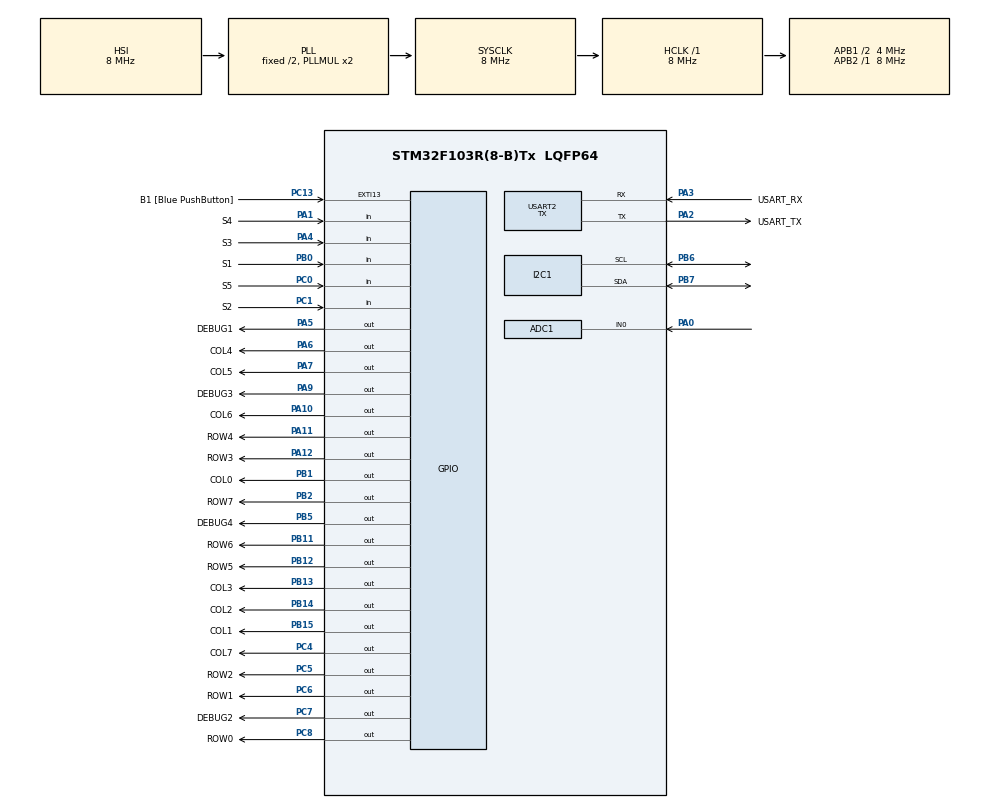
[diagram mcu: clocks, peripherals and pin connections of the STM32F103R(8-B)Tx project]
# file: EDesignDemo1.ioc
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ADC1.Channel-2\#ChannelRegularConversion=ADC_CHANNEL_0
ADC1.NbrOfConversionFlag=1
ADC1.Rank-2\#ChannelRegularConversion=1
ADC1.SamplingTime-2\#ChannelRegularConversion=ADC_SAMPLETIME_1CYCLE_5
ADC1.master=1
Mcu.Family=STM32F1
Mcu.Name=STM32F103R(8-B)Tx
Mcu.Package=LQFP64
NVIC.EXTI15_10_IRQn=true\:0\:0\:false\:false\:true\:true\:true
NVIC.PriorityGroup=NVIC_PRIORITYGROUP_4
PA0-WKUP.Signal=ADCx_IN0
PA1.GPIO_Label=S4
PA1.Signal=GPIO_Input
PA10.GPIO_Label=COL6
PA10.Signal=GPIO_Output
PA11.GPIO_Label=ROW4
PA11.Signal=GPIO_Output
PA12.GPIO_Label=ROW3
PA12.Signal=GPIO_Output
PA13.GPIO_Label=TMS
PA13.Mode=Serial_Wire
PA13.Signal=SYS_JTMS-SWDIO
PA14.GPIO_Label=TCK
PA14.Mode=Serial_Wire
PA14.Signal=SYS_JTCK-SWCLK
PA2.GPIO_Label=USART_TX
PA2.GPIO_Mode=GPIO_MODE_AF_PP
PA2.GPIO_PuPd=GPIO_NOPULL
PA2.GPIO_Speed=GPIO_SPEED_FREQ_LOW
PA2.Mode=Asynchronous
PA2.Signal=USART2_TX
PA3.GPIO_Label=USART_RX
PA3.GPIO_Mode=GPIO_MODE_AF_PP
PA3.GPIO_PuPd=GPIO_NOPULL
PA3.GPIO_Speed=GPIO_SPEED_FREQ_LOW
PA3.Mode=Asynchronous
PA3.Signal=USART2_RX
PA4.GPIO_Label=S3
PA4.Signal=GPIO_Input
PA5.GPIO_Label=DEBUG1
PA5.GPIO_ModeDefaultOutputPP=GPIO_MODE_OUTPUT_PP
PA5.GPIO_PuPd=GPIO_NOPULL
PA5.GPIO_Speed=GPIO_SPEED_FREQ_LOW
PA5.Signal=GPIO_Output
PA6.GPIO_Label=COL4
PA6.Signal=GPIO_Output
PA7.GPIO_Label=COL5
PA7.Signal=GPIO_Output
PA9.GPIO_Label=DEBUG3
PA9.Signal=GPIO_Output
PB0.GPIO_Label=S1
PB0.Signal=GPIO_Input
PB1.GPIO_Label=COL0
PB1.Signal=GPIO_Output
PB11.GPIO_Label=ROW6
PB11.Signal=GPIO_Output
PB12.GPIO_Label=ROW5
PB12.Signal=GPIO_Output
PB13.GPIO_Label=COL3
PB13.Signal=GPIO_Output
PB14.GPIO_Label=COL2
PB14.Signal=GPIO_Output
PB15.GPIO_Label=COL1
PB15.Signal=GPIO_Output
PB2.GPIO_Label=ROW7
PB2.Signal=GPIO_Output
PB3.GPIO_Label=SWO
PB3.Signal=SYS_JTDO-TRACESWO
PB5.GPIO_Label=DEBUG4
PB5.Signal=GPIO_Output
PB6.Mode=I2C
PB6.Signal=I2C1_SCL
PB7.Mode=I2C
PB7.Signal=I2C1_SDA
PC0.GPIO_Label=S5
PC0.Signal=GPIO_Input
PC1.GPIO_Label=S2
PC1.Signal=GPIO_Input
PC13-TAMPER-RTC.GPIO_Label=B1 [Blue PushButton]
PC13-TAMPER-RTC.GPIO_PuPd=GPIO_NOPULL
PC13-TAMPER-RTC.Signal=GPXTI13
PC14-OSC32_IN.Mode=LSE-External-Oscillator
PC14-OSC32_IN.Signal=RCC_OSC32_IN
PC15-OSC32_OUT.Mode=LSE-External-Oscillator
PC15-OSC32_OUT.Signal=RCC_OSC32_OUT
PC4.GPIO_Label=COL7
PC4.Signal=GPIO_Output
PC5.GPIO_Label=ROW2
PC5.Signal=GPIO_Output
PC6.GPIO_Label=ROW1
PC6.Signal=GPIO_Output
PC7.GPIO_Label=DEBUG2
PC7.Signal=GPIO_Output
PC8.GPIO_Label=ROW0
PC8.Signal=GPIO_Output
PD0-OSC_IN.Mode=HSE-External-Clock-Source
PD0-OSC_IN.Signal=RCC_OSC_IN
PD1-OSC_OUT.Mode=HSE-External-Clock-Source
PD1-OSC_OUT.Signal=RCC_OSC_OUT
ProjectManager.HeapSize=0x200
ProjectManager.StackSize=0x400
ProjectManager.TargetToolchain=STM32CubeIDE
RCC.AHBFreq_Value=8000000
RCC.APB1CLKDivider=RCC_HCLK_DIV2
RCC.APB1Freq_Value=4000000
RCC.APB1TimFreq_Value=8000000
RCC.APB2Freq_Value=8000000
RCC.APB2TimFreq_Value=8000000
RCC.HCLKFreq_Value=8000000
RCC.RTCClockSelection=RCC_RTCCLKSOURCE_LSE
RCC.SYSCLKFreq_VALUE=8000000
RCC.SYSCLKSource=RCC_SYSCLKSOURCE_PLLCLK
RCC.USBFreq_Value=8000000
SH.ADCx_IN0.0=ADC1_IN0,IN0
USART2.Mode=MODE_TX
USART2.VirtualMode=VM_ASYNC
board=NUCLEO-F103RB

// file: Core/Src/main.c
/* USER CODE BEGIN Header */
/**
 ******************************************************************************
 * @file           : main.c
 * @brief          : Main program body
 ******************************************************************************
 * @attention
 *
 * <h2><center>&copy; Copyright (c) 2021 STMicroelectronics.
 * All rights reserved.</center></h2>
 *
 * This software component is licensed by ST under BSD 3-Clause license,
 * the "License"; You may not use this file except in compliance with the
 * License. You may obtain a copy of the License at:
 *                        opensource.org/licenses/BSD-3-Clause
 *
 ******************************************************************************
 */
/* USER CODE END Header */

#include "main.h"

ADC_HandleTypeDef hadc1;

I2C_HandleTypeDef hi2c1;

UART_HandleTypeDef huart2;

void SystemClock_Config(void);
static void MX_GPIO_Init(void);
static void MX_USART2_UART_Init(void);
static void MX_ADC1_Init(void);
static void MX_I2C1_Init(void);

/* USER CODE BEGIN 0 */

uint8_t i2cData[10];
uint8_t i2cMazeData[10];
int16_t ax;
int16_t ay;
int16_t az;
HAL_StatusTypeDef result;

volatile int8_t middle_pressed;
volatile int8_t left_pressed;
volatile int8_t up_pressed;
volatile int8_t down_pressed;
extern int8_t startgame;
int8_t chooseMaze=1;
int8_t startgame = -1;
int8_t xPrev;
int8_t yPrev;
int8_t corner_state=0;
int8_t tennisgameflag=0;
int8_t mazegameflag=0;
extern uint8_t mazemenuflag;
/* USER CODE END 0 */

int main(void)
{

  /* MCU Configuration--------------------------------------------------------*/

  /* Reset of all peripherals, Initializes the Flash interface and the Systick. */
  HAL_Init();

  /* Configure the system clock */
  SystemClock_Config();

  /* Initialize all configured peripherals */
  MX_GPIO_Init();
  MX_USART2_UART_Init();
  MX_ADC1_Init();
  MX_I2C1_Init();
  /* USER CODE BEGIN 2 */
	initialize_matrix();

	calibration_sequence();

	int8_t waitScreen=0;
	int8_t game_choose=0;

	game_choose = 3;

	i2cData[0]= 0x20;//set address to CTRL_REG_1
	i2cData[1]= 0x47; //setup REG 1
	//i2cData[1]= 0x57; //setup REG 1
	HAL_I2C_Master_Transmit(&hi2c1, 0x32, i2cData, 2, 10); //transmit

	i2cData[0]= 0x23;//set address to CTRL_REG_4
	i2cData[1]= 0x0;//setup REG 4
	HAL_I2C_Master_Transmit(&hi2c1, 0x32, i2cData, 2, 10);//transmit
//result=HAL_I2C_Master_Transmit(&hi2c1, 0x32, i2cData, 4, 10);

  /* USER CODE END 2 */

  /* Infinite loop */
  /* USER CODE BEGIN WHILE */

	while (1)
	{

//			i2cMazeData[0]=0xA8; //set address to 0xA8 (X_Low address) + auto increment
//			HAL_I2C_Master_Transmit(&hi2c1,0x32,i2cMazeData,1,1);
//			HAL_I2C_Master_Receive(&hi2c1,0x32,i2cMazeData,6,1);
//
//			ax = *((int16_t*)i2cMazeData);
//			ay = *((int16_t*)(i2cMazeData+2));

			//			ax = i2cMazeData[0] + i2cMazeData[1];
			//			ay = i2cMazeData[2] + i2cMazeData[3];
//			ax = *((int8_t*)i2cMazeData) + (*((int8_t*)(i2cMazeData+1))<<8);
//			ay = *((int8_t*)(i2cMazeData+2))+(*((int8_t*)(i2cMazeData+3))<<8);

		 if((middle_pressed==1)&&(mazemenuflag==0))
			  	{
			  		if(waitScreen==1)
			  		{
			  			game_choose = 2; //select tennis game
			  			waitScreen=0;
			  		}else if (waitScreen==0)
			  		{
			  			game_choose = 3; //go back to menu
			  		}
			  		middle_pressed=0;

			  	}

			  	if (left_pressed==1) {

			  		if(waitScreen==1) {
			  			game_choose = 1; //select maze game
			  			mazemenuflag=1;
			  			waitScreen=0;
			  		}
			  		if(game_choose==3 ){
			  			left_pressed=0;
			  		}
			  	}

			  	if(game_choose==1)//maze game
			  	{
			  		maze_game();
			  	}else if(game_choose==2)//tennis game
			  	{
			  		tennis_game();
			  	}else if(game_choose==3)//menu
			  	{
			  		if(waitScreen==0)
			  		{
			  			maze_gameStop();
			  			tennis_gameStop();
			  			waitScreen=1;
			  			wait_screen();
			  		}
			  	}

    /* USER CODE END WHILE */

	}
}

void SystemClock_Config(void)
{
  RCC_OscInitTypeDef RCC_OscInitStruct = {0};
  RCC_ClkInitTypeDef RCC_ClkInitStruct = {0};
  RCC_PeriphCLKInitTypeDef PeriphClkInit = {0};

  /** Initializes the CPU, AHB and APB busses clocks
  */
  RCC_OscInitStruct.OscillatorType = RCC_OSCILLATORTYPE_HSI;
  RCC_OscInitStruct.HSIState = RCC_HSI_ON;
  RCC_OscInitStruct.HSICalibrationValue = RCC_HSICALIBRATION_DEFAULT;
  RCC_OscInitStruct.PLL.PLLState = RCC_PLL_ON;
  RCC_OscInitStruct.PLL.PLLSource = RCC_PLLSOURCE_HSI_DIV2;
  RCC_OscInitStruct.PLL.PLLMUL = RCC_PLL_MUL2;
  if (HAL_RCC_OscConfig(&RCC_OscInitStruct) != HAL_OK)
  {
    Error_Handler();
  }
  /** Initializes the CPU, AHB and APB busses clocks
  */
  RCC_ClkInitStruct.ClockType = RCC_CLOCKTYPE_HCLK|RCC_CLOCKTYPE_SYSCLK
                              |RCC_CLOCKTYPE_PCLK1|RCC_CLOCKTYPE_PCLK2;
  RCC_ClkInitStruct.SYSCLKSource = RCC_SYSCLKSOURCE_PLLCLK;
  RCC_ClkInitStruct.AHBCLKDivider = RCC_SYSCLK_DIV1;
  RCC_ClkInitStruct.APB1CLKDivider = RCC_HCLK_DIV2;
  RCC_ClkInitStruct.APB2CLKDivider = RCC_HCLK_DIV1;

  if (HAL_RCC_ClockConfig(&RCC_ClkInitStruct, FLASH_LATENCY_0) != HAL_OK)
  {
    Error_Handler();
  }
  PeriphClkInit.PeriphClockSelection = RCC_PERIPHCLK_ADC;
  PeriphClkInit.AdcClockSelection = RCC_ADCPCLK2_DIV2;
  if (HAL_RCCEx_PeriphCLKConfig(&PeriphClkInit) != HAL_OK)
  {
    Error_Handler();
  }
}

static void MX_ADC1_Init(void)
{

  ADC_ChannelConfTypeDef sConfig = {0};

  /** Common config
  */
  hadc1.Instance = ADC1;
  hadc1.Init.ScanConvMode = ADC_SCAN_DISABLE;
  hadc1.Init.ContinuousConvMode = DISABLE;
  hadc1.Init.DiscontinuousConvMode = DISABLE;
  hadc1.Init.ExternalTrigConv = ADC_SOFTWARE_START;
  hadc1.Init.DataAlign = ADC_DATAALIGN_RIGHT;
  hadc1.Init.NbrOfConversion = 1;
  if (HAL_ADC_Init(&hadc1) != HAL_OK)
  {
    Error_Handler();
  }
  /** Configure Regular Channel
  */
  sConfig.Channel = ADC_CHANNEL_0;
  sConfig.Rank = ADC_REGULAR_RANK_1;
  sConfig.SamplingTime = ADC_SAMPLETIME_1CYCLE_5;
  if (HAL_ADC_ConfigChannel(&hadc1, &sConfig) != HAL_OK)
  {
    Error_Handler();
  }

}

static void MX_I2C1_Init(void)
{

  hi2c1.Instance = I2C1;
  hi2c1.Init.ClockSpeed = 100000;
  hi2c1.Init.DutyCycle = I2C_DUTYCYCLE_2;
  hi2c1.Init.OwnAddress1 = 0;
  hi2c1.Init.AddressingMode = I2C_ADDRESSINGMODE_7BIT;
  hi2c1.Init.DualAddressMode = I2C_DUALADDRESS_DISABLE;
  hi2c1.Init.OwnAddress2 = 0;
  hi2c1.Init.GeneralCallMode = I2C_GENERALCALL_DISABLE;
  hi2c1.Init.NoStretchMode = I2C_NOSTRETCH_DISABLE;
  if (HAL_I2C_Init(&hi2c1) != HAL_OK)
  {
    Error_Handler();
  }

}

static void MX_USART2_UART_Init(void)
{

  huart2.Instance = USART2;
  huart2.Init.BaudRate = 115200;
  huart2.Init.WordLength = UART_WORDLENGTH_8B;
  huart2.Init.StopBits = UART_STOPBITS_1;
  huart2.Init.Parity = UART_PARITY_NONE;
  huart2.Init.Mode = UART_MODE_TX;
  huart2.Init.HwFlowCtl = UART_HWCONTROL_NONE;
  huart2.Init.OverSampling = UART_OVERSAMPLING_16;
  if (HAL_UART_Init(&huart2) != HAL_OK)
  {
    Error_Handler();
  }

}

static void MX_GPIO_Init(void)
{
  GPIO_InitTypeDef GPIO_InitStruct = {0};

  /* GPIO Ports Clock Enable */
  __HAL_RCC_GPIOC_CLK_ENABLE();
  __HAL_RCC_GPIOD_CLK_ENABLE();
  __HAL_RCC_GPIOA_CLK_ENABLE();
  __HAL_RCC_GPIOB_CLK_ENABLE();

  /*Configure GPIO pin Output Level */
  HAL_GPIO_WritePin(GPIOA, DEBUG1_Pin|COL4_Pin|COL5_Pin|DEBUG3_Pin
                          |COL6_Pin|ROW4_Pin|ROW3_Pin, GPIO_PIN_RESET);

  /*Configure GPIO pin Output Level */
  HAL_GPIO_WritePin(GPIOC, COL7_Pin|ROW2_Pin|ROW1_Pin|DEBUG2_Pin
                          |ROW0_Pin, GPIO_PIN_RESET);

  /*Configure GPIO pin Output Level */
  HAL_GPIO_WritePin(GPIOB, COL0_Pin|ROW7_Pin|ROW6_Pin|ROW5_Pin
                          |COL3_Pin|COL2_Pin|COL1_Pin|DEBUG4_Pin, GPIO_PIN_RESET);

  /*Configure GPIO pin : B1_Pin */
  GPIO_InitStruct.Pin = B1_Pin;
  GPIO_InitStruct.Mode = GPIO_MODE_IT_RISING;
  GPIO_InitStruct.Pull = GPIO_NOPULL;
  HAL_GPIO_Init(B1_GPIO_Port, &GPIO_InitStruct);

  /*Configure GPIO pins : S5_Pin S2_Pin */
  GPIO_InitStruct.Pin = S5_Pin|S2_Pin;
  GPIO_InitStruct.Mode = GPIO_MODE_INPUT;
  GPIO_InitStruct.Pull = GPIO_NOPULL;
  HAL_GPIO_Init(GPIOC, &GPIO_InitStruct);

  /*Configure GPIO pins : S4_Pin S3_Pin */
  GPIO_InitStruct.Pin = S4_Pin|S3_Pin;
  GPIO_InitStruct.Mode = GPIO_MODE_INPUT;
  GPIO_InitStruct.Pull = GPIO_NOPULL;
  HAL_GPIO_Init(GPIOA, &GPIO_InitStruct);

  /*Configure GPIO pins : DEBUG1_Pin COL4_Pin COL5_Pin DEBUG3_Pin
                           COL6_Pin ROW4_Pin ROW3_Pin */
  GPIO_InitStruct.Pin = DEBUG1_Pin|COL4_Pin|COL5_Pin|DEBUG3_Pin
                          |COL6_Pin|ROW4_Pin|ROW3_Pin;
  GPIO_InitStruct.Mode = GPIO_MODE_OUTPUT_PP;
  GPIO_InitStruct.Pull = GPIO_NOPULL;
  GPIO_InitStruct.Speed = GPIO_SPEED_FREQ_LOW;
  HAL_GPIO_Init(GPIOA, &GPIO_InitStruct);

  /*Configure GPIO pins : COL7_Pin ROW2_Pin ROW1_Pin DEBUG2_Pin
                           ROW0_Pin */
  GPIO_InitStruct.Pin = COL7_Pin|ROW2_Pin|ROW1_Pin|DEBUG2_Pin
                          |ROW0_Pin;
  GPIO_InitStruct.Mode = GPIO_MODE_OUTPUT_PP;
  GPIO_InitStruct.Pull = GPIO_NOPULL;
  GPIO_InitStruct.Speed = GPIO_SPEED_FREQ_LOW;
  HAL_GPIO_Init(GPIOC, &GPIO_InitStruct);

  /*Configure GPIO pin : S1_Pin */
  GPIO_InitStruct.Pin = S1_Pin;
  GPIO_InitStruct.Mode = GPIO_MODE_INPUT;
  GPIO_InitStruct.Pull = GPIO_NOPULL;
  HAL_GPIO_Init(S1_GPIO_Port, &GPIO_InitStruct);

  /*Configure GPIO pins : COL0_Pin ROW7_Pin ROW6_Pin ROW5_Pin
                           COL3_Pin COL2_Pin COL1_Pin DEBUG4_Pin */
  GPIO_InitStruct.Pin = COL0_Pin|ROW7_Pin|ROW6_Pin|ROW5_Pin
                          |COL3_Pin|COL2_Pin|COL1_Pin|DEBUG4_Pin;
  GPIO_InitStruct.Mode = GPIO_MODE_OUTPUT_PP;
  GPIO_InitStruct.Pull = GPIO_NOPULL;
  GPIO_InitStruct.Speed = GPIO_SPEED_FREQ_LOW;
  HAL_GPIO_Init(GPIOB, &GPIO_InitStruct);

  /* EXTI interrupt init*/
  HAL_NVIC_SetPriority(EXTI15_10_IRQn, 0, 0);
  HAL_NVIC_EnableIRQ(EXTI15_10_IRQn);

}

void Error_Handler(void)
{
}

/************************ (C) COPYRIGHT STMicroelectronics *****END OF FILE****/
